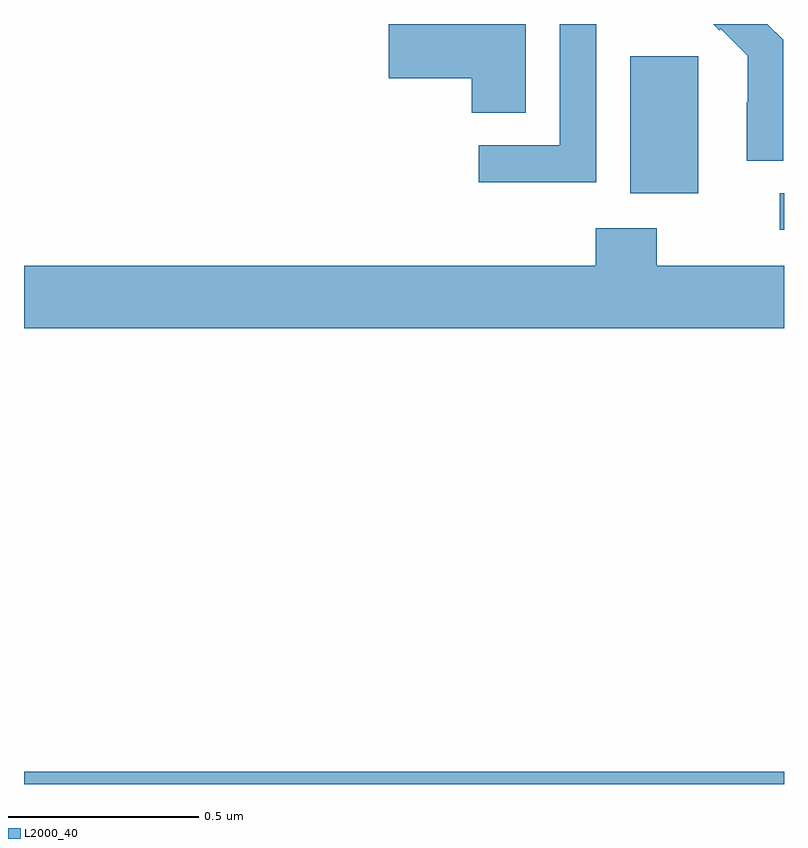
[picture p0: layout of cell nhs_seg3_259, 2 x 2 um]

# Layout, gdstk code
import gdstk
lib = gdstk.Library(unit=1e-6, precision=1e-09)
def R(c, l, rs):  # rectangles x0, y0, x1, y1
    for r in rs: c.add(gdstk.rectangle(r[:2], r[2:], *l))
def P(c, l, *ps):  # polygons
    for p in ps: c.add(gdstk.Polygon(p, *l))
L2000_40 = (2000, 40)

nhs_seg3_259 = lib.new_cell('nhs_seg3_259')
R(nhs_seg3_259, L2000_40, [(114,682.4,116,682.432), (115.989,683.859,116,683.955), (115.595,683.954,115.774,684.315)])
P(nhs_seg3_259, L2000_40, [(115.506,684.4),(115.41,684.4),(115.41,684.081),(115.197,684.081),(115.197,683.983),(115.506,683.983)],
  [(115.998,684.358),(115.956,684.4),(115.814,684.4),(115.83,684.384),(115.833,684.387),(115.904,684.317),(115.904,684.194),(115.902,684.194),(115.902,684.04),(115.998,684.04)],
  [(115.321,684.4),(114.96,684.4),(114.96,684.257),(115.178,684.257),(115.178,684.166),(115.321,684.166)],
  [(116,683.764),(115.665,683.764),(115.665,683.863),(115.505,683.863),(115.505,683.764),(114,683.764),(114,683.6),(116,683.6)])

lib.write_gds('nhs_seg3_259.gds')
